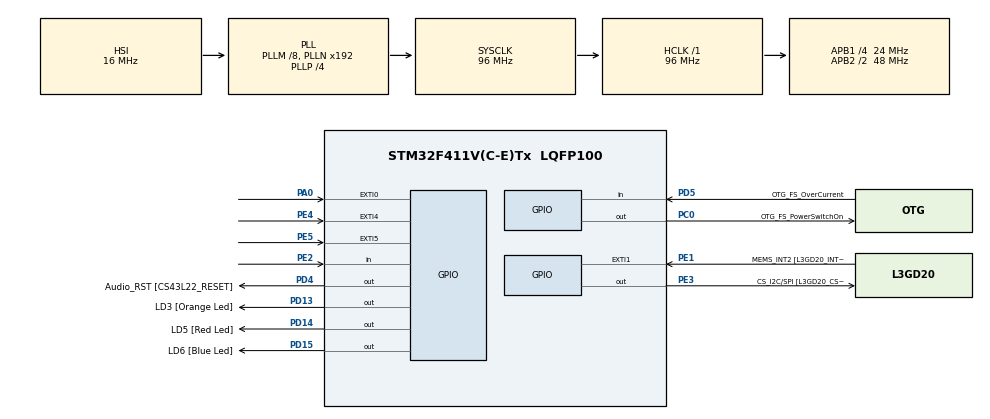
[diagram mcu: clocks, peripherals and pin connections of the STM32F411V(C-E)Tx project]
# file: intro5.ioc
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Mcu.Family=STM32F4
Mcu.Name=STM32F411V(C-E)Tx
Mcu.Package=LQFP100
NVIC.EXTI0_IRQn=true\:0\:0\:false\:false\:true\:true\:true\:true
NVIC.PriorityGroup=NVIC_PRIORITYGROUP_0
PA0-WKUP.GPIO_ModeDefaultEXTI=GPIO_MODE_IT_RISING
PA0-WKUP.Signal=GPXTI0
PA10.GPIO_Label=OTG_FS_ID
PA10.Signal=USB_OTG_FS_ID
PA11.GPIO_Label=OTG_FS_DM
PA11.Signal=USB_OTG_FS_DM
PA12.GPIO_Label=OTG_FS_DP
PA12.Signal=USB_OTG_FS_DP
PA13.GPIO_Label=SWDIO
PA13.Signal=SYS_JTMS-SWDIO
PA14.GPIO_Label=SWCLK
PA14.Signal=SYS_JTCK-SWCLK
PA4.GPIO_Label=I2S3_WS [CS43L22_LRCK]
PA4.GPIO_Mode=GPIO_MODE_AF_PP
PA4.GPIO_PuPd=GPIO_NOPULL
PA4.GPIO_Speed=GPIO_SPEED_FREQ_LOW
PA4.Signal=I2S3_WS
PA5.GPIO_Label=SPI1_SCK [L3GD20_SC/SPC]
PA5.Signal=SPI1_SCK
PA6.GPIO_Label=SPI1_MISO [L3GD20_AS0/SDO]
PA6.Signal=SPI1_MISO
PA7.GPIO_Label=SPI1_MOSI [L3GD20_SDA/SDI/SDO]
PA7.Signal=SPI1_MOSI
PA9.GPIO_Label=VBUS_FS
PA9.Signal=USB_OTG_FS_VBUS
PB10.GPIO_Label=CLK_IN [MP45DT02_CLK]
PB10.Signal=I2S2_CK
PB12.Signal=I2S2_WS
PB3.GPIO_Label=SWO
PB3.Signal=SYS_JTDO-SWO
PB6.GPIO_Label=Audio_SCL [CS43L22_SCL]
PB6.GPIO_Mode=GPIO_MODE_AF_OD
PB6.GPIO_PuPd=GPIO_NOPULL
PB6.GPIO_Speed=GPIO_SPEED_FREQ_LOW
PB6.Signal=I2C1_SCL
PB9.GPIO_Label=Audio_SDA [CS43L22_SDA]
PB9.GPIO_Mode=GPIO_MODE_AF_OD
PB9.GPIO_PuPd=GPIO_NOPULL
PB9.GPIO_Speed=GPIO_SPEED_FREQ_LOW
PB9.Signal=I2C1_SDA
PC0.GPIO_Label=OTG_FS_PowerSwitchOn
PC0.PinState=GPIO_PIN_SET
PC0.Signal=GPIO_Output
PC10.GPIO_Label=I2S3_SCK [CS43L22_SCLK]
PC10.GPIO_Mode=GPIO_MODE_AF_PP
PC10.GPIO_PuPd=GPIO_NOPULL
PC10.GPIO_Speed=GPIO_SPEED_FREQ_LOW
PC10.Signal=I2S3_CK
PC12.GPIO_Label=I2S3_SD [CS43L22_SDIN]
PC12.GPIO_Mode=GPIO_MODE_AF_PP
PC12.GPIO_PuPd=GPIO_NOPULL
PC12.GPIO_Speed=GPIO_SPEED_FREQ_LOW
PC12.Signal=I2S3_SD
PC14-OSC32_IN.GPIO_Label=PC14-OSC32_IN
PC14-OSC32_IN.Signal=RCC_OSC32_IN
PC15-OSC32_OUT.GPIO_Label=PC15-OSC32_OUT
PC15-OSC32_OUT.Signal=RCC_OSC32_OUT
PC3.GPIO_Label=PDM_OUT [MP45DT02_DOUT]
PC3.Signal=I2S2_SD
PC7.GPIO_Label=I2S3_MCK [CS43L22_MCLK]
PC7.GPIO_Mode=GPIO_MODE_AF_PP
PC7.GPIO_PuPd=GPIO_NOPULL
PC7.GPIO_Speed=GPIO_SPEED_FREQ_LOW
PC7.Signal=I2S3_MCK
PD12.Signal=S_TIM4_CH1
PD13.GPIO_Label=LD3 [Orange Led]
PD13.GPIO_PuPd=GPIO_NOPULL
PD13.GPIO_Speed=GPIO_SPEED_FREQ_LOW
PD13.Signal=GPIO_Output
PD14.GPIO_Label=LD5 [Red Led]
PD14.GPIO_PuPd=GPIO_NOPULL
PD14.GPIO_Speed=GPIO_SPEED_FREQ_LOW
PD14.Signal=GPIO_Output
PD15.GPIO_Label=LD6 [Blue Led]
PD15.GPIO_PuPd=GPIO_NOPULL
PD15.GPIO_Speed=GPIO_SPEED_FREQ_LOW
PD15.Signal=GPIO_Output
PD4.GPIO_Label=Audio_RST [CS43L22_RESET]
PD4.Signal=GPIO_Output
PD5.GPIO_Label=OTG_FS_OverCurrent
PD5.Signal=GPIO_Input
PE1.GPIO_Label=MEMS_INT2 [L3GD20_INT2]
PE1.GPIO_ModeDefaultEXTI=GPIO_MODE_EVT_RISING
PE1.Signal=GPXTI1
PE2.Signal=GPIO_Input
PE3.GPIO_Label=CS_I2C/SPI [L3GD20_CS_I2C/SPI]
PE3.Signal=GPIO_Output
PE4.GPIO_ModeDefaultEXTI=GPIO_MODE_EVT_RISING
PE4.Signal=GPXTI4
PE5.GPIO_ModeDefaultEXTI=GPIO_MODE_EVT_RISING
PE5.Signal=GPXTI5
PH0\ -\ OSC_IN.GPIO_Label=PH0-OSC_IN
PH0\ -\ OSC_IN.Signal=RCC_OSC_IN
PH1\ -\ OSC_OUT.GPIO_Label=PH1-OSC_OUT
PH1\ -\ OSC_OUT.Signal=RCC_OSC_OUT
ProjectManager.HeapSize=0x200
ProjectManager.StackSize=0x400
ProjectManager.TargetToolchain=STM32CubeIDE
RCC.48MHZClocksFreq_Value=48000000
RCC.AHBFreq_Value=96000000
RCC.APB1CLKDivider=RCC_HCLK_DIV4
RCC.APB1Freq_Value=24000000
RCC.APB1TimFreq_Value=48000000
RCC.APB2CLKDivider=RCC_HCLK_DIV2
RCC.APB2Freq_Value=48000000
RCC.APB2TimFreq_Value=96000000
RCC.CortexFreq_Value=96000000
RCC.HCLKFreq_Value=96000000
RCC.HSE_VALUE=8000000
RCC.HSI_VALUE=16000000
RCC.LSE_VALUE=32768
RCC.PLLI2SM=5
RCC.PLLI2SN=200
RCC.PLLM=8
RCC.PLLP=RCC_PLLP_DIV4
RCC.PLLQ=8
RCC.SYSCLKFreq_VALUE=96000000
RCC.SYSCLKSource=RCC_SYSCLKSOURCE_PLLCLK
RCC.VCOOutputFreq_Value=384000000
SH.S_TIM4_CH1.0=TIM4_CH1
VP_RTC_VS_RTC_Activate.Mode=RTC_Enabled
board=STM32F411E-DISCO

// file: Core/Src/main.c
/* USER CODE BEGIN Header */
/**
  ******************************************************************************
  * @file           : main.c
  * @brief          : Main program body
  ******************************************************************************
  * @attention
  *
  * Copyright (c) 2024 STMicroelectronics.
  * All rights reserved.
  *
  * This software is licensed under terms that can be found in the LICENSE file
  * in the root directory of this software component.
  * If no LICENSE file comes with this software, it is provided AS-IS.
  *
  ******************************************************************************
  */
/* USER CODE END Header */
#include "main.h"

RTC_HandleTypeDef hrtc;

void SystemClock_Config(void);
static void MX_GPIO_Init(void);
static void MX_RTC_Init(void);

/* USER CODE BEGIN 0 */
// it wakes up from stand by, remembers number in working register
/* USER CODE END 0 */

int main(void)
{

  /* USER CODE BEGIN 1 */
	initialise_monitor_handles();
  /* USER CODE END 1 */

  /* MCU Configuration--------------------------------------------------------*/

  /* Reset of all peripherals, Initializes the Flash interface and the Systick. */
  HAL_Init();

  /* Configure the system clock */
  SystemClock_Config();

  /* Initialize all configured peripherals */
  MX_GPIO_Init();
  MX_RTC_Init();
  /* USER CODE BEGIN 2 */

printf("Gasmy swiatlo\n");

if(__HAL_PWR_GET_FLAG(PWR_FLAG_SB)!= RESET)
{
	printf("zostal wybudzony ze standby\n");
	__HAL_PWR_GET_FLAG(PWR_FLAG_SB);
	__HAL_PWR_GET_FLAG(PWR_FLAG_WU);
}

HAL_PWR_EnableWakeUpPin(PWR_WAKEUP_PIN1); //PA0 - przycisk

uint32_t zachowany = HAL_RTCEx_BKUPRead(&hrtc, RTC_BKP_DR0);

printf("zachowany %d \n", zachowany);

zachowany = 555;

HAL_RTCEx_BKUPWrite(&hrtc, RTC_BKP_DR0, zachowany);

HAL_PWR_EnterSTANDBYMode(); //wykonuje od nowa wszystkie instrukcje z main :O
//odcina zasilania :( jak z niego wyjsc?

printf("zapalamy switlo.\n");

  /* USER CODE END 2 */

  /* Infinite loop */
  /* USER CODE BEGIN WHILE */
printf("wchodzimy w delay\n");
  while (1)
  {
	  HAL_Delay(5000);
	  HAL_GPIO_TogglePin(LD3_GPIO_Port, LD3_Pin);
    /* USER CODE END WHILE */

  }
}

void SystemClock_Config(void)
{
  RCC_OscInitTypeDef RCC_OscInitStruct = {0};
  RCC_ClkInitTypeDef RCC_ClkInitStruct = {0};

  /** Configure the main internal regulator output voltage
  */
  __HAL_RCC_PWR_CLK_ENABLE();
  __HAL_PWR_VOLTAGESCALING_CONFIG(PWR_REGULATOR_VOLTAGE_SCALE1);

  /** Initializes the RCC Oscillators according to the specified parameters
  * in the RCC_OscInitTypeDef structure.
  */
  RCC_OscInitStruct.OscillatorType = RCC_OSCILLATORTYPE_HSI|RCC_OSCILLATORTYPE_LSI;
  RCC_OscInitStruct.HSIState = RCC_HSI_ON;
  RCC_OscInitStruct.HSICalibrationValue = RCC_HSICALIBRATION_DEFAULT;
  RCC_OscInitStruct.LSIState = RCC_LSI_ON;
  RCC_OscInitStruct.PLL.PLLState = RCC_PLL_ON;
  RCC_OscInitStruct.PLL.PLLSource = RCC_PLLSOURCE_HSI;
  RCC_OscInitStruct.PLL.PLLM = 8;
  RCC_OscInitStruct.PLL.PLLN = 192;
  RCC_OscInitStruct.PLL.PLLP = RCC_PLLP_DIV4;
  RCC_OscInitStruct.PLL.PLLQ = 8;
  if (HAL_RCC_OscConfig(&RCC_OscInitStruct) != HAL_OK)
  {
    Error_Handler();
  }

  /** Initializes the CPU, AHB and APB buses clocks
  */
  RCC_ClkInitStruct.ClockType = RCC_CLOCKTYPE_HCLK|RCC_CLOCKTYPE_SYSCLK
                              |RCC_CLOCKTYPE_PCLK1|RCC_CLOCKTYPE_PCLK2;
  RCC_ClkInitStruct.SYSCLKSource = RCC_SYSCLKSOURCE_PLLCLK;
  RCC_ClkInitStruct.AHBCLKDivider = RCC_SYSCLK_DIV1;
  RCC_ClkInitStruct.APB1CLKDivider = RCC_HCLK_DIV4;
  RCC_ClkInitStruct.APB2CLKDivider = RCC_HCLK_DIV2;

  if (HAL_RCC_ClockConfig(&RCC_ClkInitStruct, FLASH_LATENCY_3) != HAL_OK)
  {
    Error_Handler();
  }
}

static void MX_RTC_Init(void)
{

  /** Initialize RTC Only
  */
  hrtc.Instance = RTC;
  hrtc.Init.HourFormat = RTC_HOURFORMAT_24;
  hrtc.Init.AsynchPrediv = 127;
  hrtc.Init.SynchPrediv = 255;
  hrtc.Init.OutPut = RTC_OUTPUT_DISABLE;
  hrtc.Init.OutPutPolarity = RTC_OUTPUT_POLARITY_HIGH;
  hrtc.Init.OutPutType = RTC_OUTPUT_TYPE_OPENDRAIN;
  if (HAL_RTC_Init(&hrtc) != HAL_OK)
  {
    Error_Handler();
  }

}

static void MX_GPIO_Init(void)
{
  GPIO_InitTypeDef GPIO_InitStruct = {0};

  /* GPIO Ports Clock Enable */
  __HAL_RCC_GPIOE_CLK_ENABLE();
  __HAL_RCC_GPIOC_CLK_ENABLE();
  __HAL_RCC_GPIOH_CLK_ENABLE();
  __HAL_RCC_GPIOA_CLK_ENABLE();
  __HAL_RCC_GPIOB_CLK_ENABLE();
  __HAL_RCC_GPIOD_CLK_ENABLE();

  /*Configure GPIO pin Output Level */
  HAL_GPIO_WritePin(CS_I2C_SPI_GPIO_Port, CS_I2C_SPI_Pin, GPIO_PIN_RESET);

  /*Configure GPIO pin Output Level */
  HAL_GPIO_WritePin(OTG_FS_PowerSwitchOn_GPIO_Port, OTG_FS_PowerSwitchOn_Pin, GPIO_PIN_SET);

  /*Configure GPIO pin Output Level */
  HAL_GPIO_WritePin(GPIOD, LD3_Pin|LD5_Pin|LD6_Pin|Audio_RST_Pin, GPIO_PIN_RESET);

  /*Configure GPIO pin : PE2 */
  GPIO_InitStruct.Pin = GPIO_PIN_2;
  GPIO_InitStruct.Mode = GPIO_MODE_INPUT;
  GPIO_InitStruct.Pull = GPIO_NOPULL;
  HAL_GPIO_Init(GPIOE, &GPIO_InitStruct);

  /*Configure GPIO pin : CS_I2C_SPI_Pin */
  GPIO_InitStruct.Pin = CS_I2C_SPI_Pin;
  GPIO_InitStruct.Mode = GPIO_MODE_OUTPUT_PP;
  GPIO_InitStruct.Pull = GPIO_NOPULL;
  GPIO_InitStruct.Speed = GPIO_SPEED_FREQ_LOW;
  HAL_GPIO_Init(CS_I2C_SPI_GPIO_Port, &GPIO_InitStruct);

  /*Configure GPIO pins : PE4 PE5 MEMS_INT2_Pin */
  GPIO_InitStruct.Pin = GPIO_PIN_4|GPIO_PIN_5|MEMS_INT2_Pin;
  GPIO_InitStruct.Mode = GPIO_MODE_EVT_RISING;
  GPIO_InitStruct.Pull = GPIO_NOPULL;
  HAL_GPIO_Init(GPIOE, &GPIO_InitStruct);

  /*Configure GPIO pin : OTG_FS_PowerSwitchOn_Pin */
  GPIO_InitStruct.Pin = OTG_FS_PowerSwitchOn_Pin;
  GPIO_InitStruct.Mode = GPIO_MODE_OUTPUT_PP;
  GPIO_InitStruct.Pull = GPIO_NOPULL;
  GPIO_InitStruct.Speed = GPIO_SPEED_FREQ_LOW;
  HAL_GPIO_Init(OTG_FS_PowerSwitchOn_GPIO_Port, &GPIO_InitStruct);

  /*Configure GPIO pin : PDM_OUT_Pin */
  GPIO_InitStruct.Pin = PDM_OUT_Pin;
  GPIO_InitStruct.Mode = GPIO_MODE_AF_PP;
  GPIO_InitStruct.Pull = GPIO_NOPULL;
  GPIO_InitStruct.Speed = GPIO_SPEED_FREQ_LOW;
  GPIO_InitStruct.Alternate = GPIO_AF5_SPI2;
  HAL_GPIO_Init(PDM_OUT_GPIO_Port, &GPIO_InitStruct);

  /*Configure GPIO pin : PA0 */
  GPIO_InitStruct.Pin = GPIO_PIN_0;
  GPIO_InitStruct.Mode = GPIO_MODE_IT_RISING;
  GPIO_InitStruct.Pull = GPIO_NOPULL;
  HAL_GPIO_Init(GPIOA, &GPIO_InitStruct);

  /*Configure GPIO pin : I2S3_WS_Pin */
  GPIO_InitStruct.Pin = I2S3_WS_Pin;
  GPIO_InitStruct.Mode = GPIO_MODE_AF_PP;
  GPIO_InitStruct.Pull = GPIO_NOPULL;
  GPIO_InitStruct.Speed = GPIO_SPEED_FREQ_LOW;
  GPIO_InitStruct.Alternate = GPIO_AF6_SPI3;
  HAL_GPIO_Init(I2S3_WS_GPIO_Port, &GPIO_InitStruct);

  /*Configure GPIO pins : SPI1_SCK_Pin SPI1_MISO_Pin SPI1_MOSI_Pin */
  GPIO_InitStruct.Pin = SPI1_SCK_Pin|SPI1_MISO_Pin|SPI1_MOSI_Pin;
  GPIO_InitStruct.Mode = GPIO_MODE_AF_PP;
  GPIO_InitStruct.Pull = GPIO_NOPULL;
  GPIO_InitStruct.Speed = GPIO_SPEED_FREQ_VERY_HIGH;
  GPIO_InitStruct.Alternate = GPIO_AF5_SPI1;
  HAL_GPIO_Init(GPIOA, &GPIO_InitStruct);

  /*Configure GPIO pins : CLK_IN_Pin PB12 */
  GPIO_InitStruct.Pin = CLK_IN_Pin|GPIO_PIN_12;
  GPIO_InitStruct.Mode = GPIO_MODE_AF_PP;
  GPIO_InitStruct.Pull = GPIO_NOPULL;
  GPIO_InitStruct.Speed = GPIO_SPEED_FREQ_LOW;
  GPIO_InitStruct.Alternate = GPIO_AF5_SPI2;
  HAL_GPIO_Init(GPIOB, &GPIO_InitStruct);

  /*Configure GPIO pin : PD12 */
  GPIO_InitStruct.Pin = GPIO_PIN_12;
  GPIO_InitStruct.Mode = GPIO_MODE_AF_PP;
  GPIO_InitStruct.Pull = GPIO_NOPULL;
  GPIO_InitStruct.Speed = GPIO_SPEED_FREQ_LOW;
  GPIO_InitStruct.Alternate = GPIO_AF2_TIM4;
  HAL_GPIO_Init(GPIOD, &GPIO_InitStruct);

  /*Configure GPIO pins : LD3_Pin LD5_Pin LD6_Pin Audio_RST_Pin */
  GPIO_InitStruct.Pin = LD3_Pin|LD5_Pin|LD6_Pin|Audio_RST_Pin;
  GPIO_InitStruct.Mode = GPIO_MODE_OUTPUT_PP;
  GPIO_InitStruct.Pull = GPIO_NOPULL;
  GPIO_InitStruct.Speed = GPIO_SPEED_FREQ_LOW;
  HAL_GPIO_Init(GPIOD, &GPIO_InitStruct);

  /*Configure GPIO pins : I2S3_MCK_Pin I2S3_SCK_Pin I2S3_SD_Pin */
  GPIO_InitStruct.Pin = I2S3_MCK_Pin|I2S3_SCK_Pin|I2S3_SD_Pin;
  GPIO_InitStruct.Mode = GPIO_MODE_AF_PP;
  GPIO_InitStruct.Pull = GPIO_NOPULL;
  GPIO_InitStruct.Speed = GPIO_SPEED_FREQ_LOW;
  GPIO_InitStruct.Alternate = GPIO_AF6_SPI3;
  HAL_GPIO_Init(GPIOC, &GPIO_InitStruct);

  /*Configure GPIO pin : VBUS_FS_Pin */
  GPIO_InitStruct.Pin = VBUS_FS_Pin;
  GPIO_InitStruct.Mode = GPIO_MODE_INPUT;
  GPIO_InitStruct.Pull = GPIO_NOPULL;
  HAL_GPIO_Init(VBUS_FS_GPIO_Port, &GPIO_InitStruct);

  /*Configure GPIO pins : OTG_FS_ID_Pin OTG_FS_DM_Pin OTG_FS_DP_Pin */
  GPIO_InitStruct.Pin = OTG_FS_ID_Pin|OTG_FS_DM_Pin|OTG_FS_DP_Pin;
  GPIO_InitStruct.Mode = GPIO_MODE_AF_PP;
  GPIO_InitStruct.Pull = GPIO_NOPULL;
  GPIO_InitStruct.Speed = GPIO_SPEED_FREQ_VERY_HIGH;
  GPIO_InitStruct.Alternate = GPIO_AF10_OTG_FS;
  HAL_GPIO_Init(GPIOA, &GPIO_InitStruct);

  /*Configure GPIO pin : OTG_FS_OverCurrent_Pin */
  GPIO_InitStruct.Pin = OTG_FS_OverCurrent_Pin;
  GPIO_InitStruct.Mode = GPIO_MODE_INPUT;
  GPIO_InitStruct.Pull = GPIO_NOPULL;
  HAL_GPIO_Init(OTG_FS_OverCurrent_GPIO_Port, &GPIO_InitStruct);

  /*Configure GPIO pins : Audio_SCL_Pin Audio_SDA_Pin */
  GPIO_InitStruct.Pin = Audio_SCL_Pin|Audio_SDA_Pin;
  GPIO_InitStruct.Mode = GPIO_MODE_AF_OD;
  GPIO_InitStruct.Pull = GPIO_NOPULL;
  GPIO_InitStruct.Speed = GPIO_SPEED_FREQ_LOW;
  GPIO_InitStruct.Alternate = GPIO_AF4_I2C1;
  HAL_GPIO_Init(GPIOB, &GPIO_InitStruct);

  /* EXTI interrupt init*/
  HAL_NVIC_SetPriority(EXTI0_IRQn, 0, 0);
  HAL_NVIC_EnableIRQ(EXTI0_IRQn);

}

/* USER CODE BEGIN 4 */
//int call_number = 0;
//HAL_GPIO_EXTI_Callback(uint16_t GPIO_Pin)
//{
//	printf("wcisnieto przycisk: %d \n", call_number); //2
//	printf("wywolano przerwanie przyciskiem\n");
//	call_number++;
//	//HAL_PWR_EnableSleepOnExit(); //wylaczone bo chcemy wybudzic go przyciskiem
//}
//
//void HAL_TIM_PeriodElapsedCallback(TIM_HandleTypeDef *htim) //wyjscie ze sleepa i stop timera
//{
//	if(htim == &htim3){
//		HAL_PWR_DisableSleepOnExit(); //
//	}
//}

/* USER CODE END 4 */

void Error_Handler(void)
{
  __disable_irq();
  while (1)
  {
  }
}
